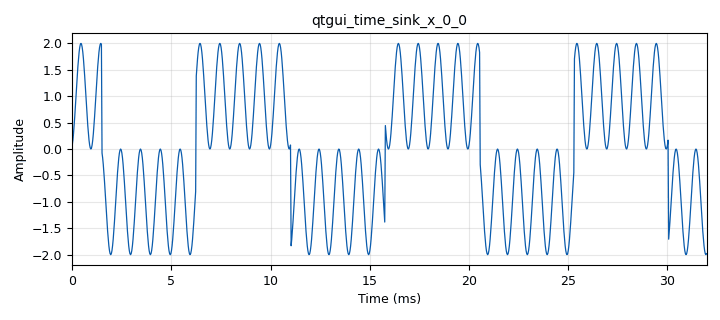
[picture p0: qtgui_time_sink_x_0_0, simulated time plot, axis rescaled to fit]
<?xml version='1.0' encoding='utf-8'?>
<?grc format='1' created='3.7.12'?>
<flow_graph>
<block>
<key>options</key>
<param><key>id</key><value>top_block</value></param>
<param><key>generate_options</key><value>qt_gui</value></param>
</block>
<block>
<key>variable_qtgui_range</key>
<param><key>id</key><value>amp_baseband</value></param>
<param><key>value</key><value>2</value></param>
<param><key>label</key><value>amp_baseband</value></param>
<param><key>orient</key><value>Qt.Horizontal</value></param>
<param><key>start</key><value>1</value></param>
<param><key>step</key><value>1</value></param>
<param><key>stop</key><value>255</value></param>
</block>
<block>
<key>variable_qtgui_range</key>
<param><key>id</key><value>amp_carrier</value></param>
<param><key>value</key><value>1</value></param>
<param><key>label</key><value>amp_carrier</value></param>
<param><key>orient</key><value>Qt.Horizontal</value></param>
<param><key>start</key><value>1</value></param>
<param><key>step</key><value>1</value></param>
<param><key>stop</key><value>255</value></param>
</block>
<block>
<key>variable</key>
<param><key>id</key><value>samp_rate</value></param>
<param><key>value</key><value>32000</value></param>
</block>
<block>
<key>analog_sig_source_x</key>
<param><key>id</key><value>analog_sig_source_x_0</value></param>
<param><key>amp</key><value>amp_carrier</value></param>
<param><key>freq</key><value>1000</value></param>
<param><key>offset</key><value>0</value></param>
<param><key>type</key><value>float</value></param>
<param><key>samp_rate</key><value>samp_rate</value></param>
<param><key>waveform</key><value>analog.GR_COS_WAVE</value></param>
</block>
<block>
<key>analog_sig_source_x</key>
<param><key>id</key><value>analog_sig_source_x_1</value></param>
<param><key>amp</key><value>amp_baseband</value></param>
<param><key>freq</key><value>105</value></param>
<param><key>offset</key><value>-(amp_baseband/2)</value></param>
<param><key>type</key><value>float</value></param>
<param><key>samp_rate</key><value>samp_rate</value></param>
<param><key>waveform</key><value>analog.GR_SQR_WAVE</value></param>
</block>
<block>
<key>analog_sig_source_x</key>
<param><key>id</key><value>analog_sig_source_x_1_0</value></param>
<param><key>amp</key><value>2</value></param>
<param><key>_enabled</key><value>0</value></param>
<param><key>freq</key><value>0.001</value></param>
<param><key>offset</key><value>-1</value></param>
<param><key>type</key><value>float</value></param>
<param><key>samp_rate</key><value>samp_rate</value></param>
<param><key>waveform</key><value>analog.GR_SIN_WAVE</value></param>
</block>
<block>
<key>blocks_add_xx</key>
<param><key>id</key><value>blocks_add_xx_0</value></param>
<param><key>type</key><value>float</value></param>
</block>
<block>
<key>blocks_udp_sink</key>
<param><key>id</key><value>blocks_udp_sink_0</value></param>
<param><key>ipaddr</key><value>localhost</value></param>
<param><key>port</key><value>41234</value></param>
<param><key>type</key><value>float</value></param>
<param><key>psize</key><value>1472</value></param>
<param><key>eof</key><value>True</value></param>
<param><key>vlen</key><value>1</value></param>
</block>
<block>
<key>qtgui_const_sink_x</key>
<param><key>id</key><value>qtgui_const_sink_x_0</value></param>
<param><key>_enabled</key><value>0</value></param>
<param><key>grid</key><value>True</value></param>
<param><key>size</key><value>1024</value></param>
<param><key>type</key><value>complex</value></param>
</block>
<block>
<key>qtgui_time_sink_x</key>
<param><key>id</key><value>qtgui_time_sink_x_0</value></param>
<param><key>autoscale</key><value>True</value></param>
<param><key>_enabled</key><value>0</value></param>
<param><key>color1</key><value>"blue"</value></param>
<param><key>label1</key><value></value></param>
<param><key>size</key><value>1024</value></param>
<param><key>srate</key><value>samp_rate</value></param>
<param><key>tr_mode</key><value>qtgui.TRIG_MODE_AUTO</value></param>
<param><key>type</key><value>float</value></param>
</block>
<block>
<key>qtgui_time_sink_x</key>
<param><key>id</key><value>qtgui_time_sink_x_0_0</value></param>
<param><key>ctrlpanel</key><value>True</value></param>
<param><key>color1</key><value>"blue"</value></param>
<param><key>label1</key><value></value></param>
<param><key>size</key><value>1024</value></param>
<param><key>srate</key><value>samp_rate</value></param>
<param><key>tr_level</key><value>0.1</value></param>
<param><key>tr_mode</key><value>qtgui.TRIG_MODE_AUTO</value></param>
<param><key>type</key><value>float</value></param>
</block>
<block>
<key>qtgui_time_sink_x</key>
<param><key>id</key><value>qtgui_time_sink_x_0_0_0</value></param>
<param><key>autoscale</key><value>True</value></param>
<param><key>_enabled</key><value>0</value></param>
<param><key>color1</key><value>"blue"</value></param>
<param><key>label1</key><value></value></param>
<param><key>size</key><value>1024</value></param>
<param><key>srate</key><value>samp_rate</value></param>
<param><key>tr_mode</key><value>qtgui.TRIG_MODE_AUTO</value></param>
<param><key>type</key><value>float</value></param>
</block>
<connection><source_block_id>analog_sig_source_x_0</source_block_id><sink_block_id>blocks_add_xx_0</sink_block_id><source_key>0</source_key><sink_key>0</sink_key></connection>
<connection><source_block_id>analog_sig_source_x_0</source_block_id><sink_block_id>qtgui_time_sink_x_0</sink_block_id><source_key>0</source_key><sink_key>0</sink_key></connection>
<connection><source_block_id>analog_sig_source_x_1</source_block_id><sink_block_id>blocks_add_xx_0</sink_block_id><source_key>0</source_key><sink_key>1</sink_key></connection>
<connection><source_block_id>analog_sig_source_x_1</source_block_id><sink_block_id>qtgui_time_sink_x_0_0_0</sink_block_id><source_key>0</source_key><sink_key>0</sink_key></connection>
<connection><source_block_id>analog_sig_source_x_1_0</source_block_id><sink_block_id>blocks_udp_sink_0</sink_block_id><source_key>0</source_key><sink_key>0</sink_key></connection>
<connection><source_block_id>blocks_add_xx_0</source_block_id><sink_block_id>blocks_udp_sink_0</sink_block_id><source_key>0</source_key><sink_key>0</sink_key></connection>
<connection><source_block_id>blocks_add_xx_0</source_block_id><sink_block_id>qtgui_const_sink_x_0</sink_block_id><source_key>0</source_key><sink_key>0</sink_key></connection>
<connection><source_block_id>blocks_add_xx_0</source_block_id><sink_block_id>qtgui_time_sink_x_0_0</sink_block_id><source_key>0</source_key><sink_key>0</sink_key></connection>
</flow_graph>
